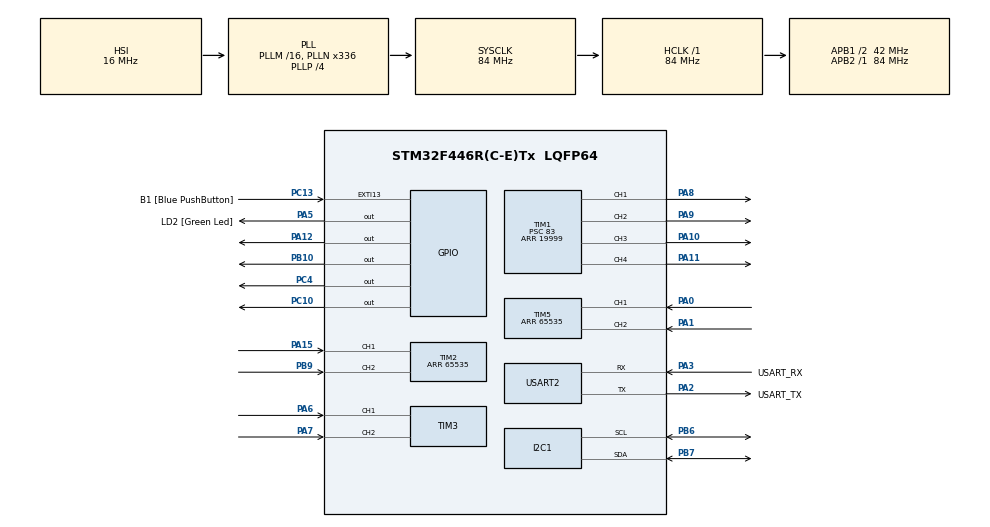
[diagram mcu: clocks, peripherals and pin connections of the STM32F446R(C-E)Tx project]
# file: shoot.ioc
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Mcu.Family=STM32F4
Mcu.Name=STM32F446R(C-E)Tx
Mcu.Package=LQFP64
NVIC.PriorityGroup=NVIC_PRIORITYGROUP_0
NVIC.TIM2_IRQn=true\:0\:0\:false\:false\:true\:true\:true\:true
NVIC.TIM3_IRQn=true\:0\:0\:false\:false\:true\:true\:true\:true
NVIC.TIM5_IRQn=true\:0\:0\:false\:false\:true\:true\:true\:true
PA0-WKUP.Signal=S_TIM5_CH1
PA1.Signal=S_TIM5_CH2
PA10.Signal=S_TIM1_CH3
PA11.Signal=S_TIM1_CH4
PA12.Signal=GPIO_Output
PA13.GPIO_Label=TMS
PA13.Mode=Serial_Wire
PA13.Signal=SYS_JTMS-SWDIO
PA14.GPIO_Label=TCK
PA14.Mode=Serial_Wire
PA14.Signal=SYS_JTCK-SWCLK
PA15.Signal=S_TIM2_CH1_ETR
PA2.GPIO_Label=USART_TX
PA2.Mode=Asynchronous
PA2.Signal=USART2_TX
PA3.GPIO_Label=USART_RX
PA3.Mode=Asynchronous
PA3.Signal=USART2_RX
PA5.GPIO_Label=LD2 [Green Led]
PA5.Signal=GPIO_Output
PA6.Signal=S_TIM3_CH1
PA7.Signal=S_TIM3_CH2
PA8.Signal=S_TIM1_CH1
PA9.Signal=S_TIM1_CH2
PB10.Signal=GPIO_Output
PB3.GPIO_Label=SWO
PB3.Signal=SYS_JTDO-SWO
PB6.Mode=I2C
PB6.Signal=I2C1_SCL
PB7.Mode=I2C
PB7.Signal=I2C1_SDA
PB9.Signal=S_TIM2_CH2
PC10.Signal=GPIO_Output
PC13.GPIO_Label=B1 [Blue PushButton]
PC13.GPIO_ModeDefaultEXTI=GPIO_MODE_IT_FALLING
PC13.Signal=GPXTI13
PC14-OSC32_IN.Mode=LSE-External-Oscillator
PC14-OSC32_IN.Signal=RCC_OSC32_IN
PC15-OSC32_OUT.Mode=LSE-External-Oscillator
PC15-OSC32_OUT.Signal=RCC_OSC32_OUT
PC4.Signal=GPIO_Output
PH0-OSC_IN.Mode=HSE-External-Oscillator
PH0-OSC_IN.Signal=RCC_OSC_IN
PH1-OSC_OUT.Mode=HSE-External-Oscillator
PH1-OSC_OUT.Signal=RCC_OSC_OUT
ProjectManager.HeapSize=0x200
ProjectManager.StackSize=0x400
ProjectManager.TargetToolchain=STM32CubeIDE
RCC.48MHZClocksFreq_Value=84000000
RCC.AHBFreq_Value=84000000
RCC.APB1CLKDivider=RCC_HCLK_DIV2
RCC.APB1Freq_Value=42000000
RCC.APB1TimFreq_Value=84000000
RCC.APB2Freq_Value=84000000
RCC.APB2TimFreq_Value=84000000
RCC.CortexFreq_Value=84000000
RCC.FLatency-AdvancedSettings=FLASH_LATENCY_2
RCC.HCLKFreq_Value=84000000
RCC.HSE_VALUE=8000000
RCC.HSI_VALUE=16000000
RCC.PLLN=336
RCC.PLLP=RCC_PLLP_DIV4
RCC.SYSCLKFreq_VALUE=84000000
RCC.SYSCLKSource=RCC_SYSCLKSOURCE_PLLCLK
RCC.USBFreq_Value=168000000
RCC.VCOOutputFreq_Value=336000000
SH.S_TIM1_CH1.0=TIM1_CH1,PWM Generation1 CH1
SH.S_TIM1_CH2.0=TIM1_CH2,PWM Generation2 CH2
SH.S_TIM1_CH3.0=TIM1_CH3,PWM Generation3 CH3
SH.S_TIM1_CH4.0=TIM1_CH4,PWM Generation4 CH4
SH.S_TIM2_CH1_ETR.0=TIM2_CH1,Encoder_Interface
SH.S_TIM2_CH2.0=TIM2_CH2,Encoder_Interface
SH.S_TIM3_CH1.0=TIM3_CH1,Encoder_Interface
SH.S_TIM3_CH2.0=TIM3_CH2,Encoder_Interface
SH.S_TIM5_CH1.0=TIM5_CH1,Encoder_Interface
SH.S_TIM5_CH2.0=TIM5_CH2,Encoder_Interface
TIM1.Channel-PWM\ Generation1\ CH1=TIM_CHANNEL_1
TIM1.Channel-PWM\ Generation2\ CH2=TIM_CHANNEL_2
TIM1.Channel-PWM\ Generation3\ CH3=TIM_CHANNEL_3
TIM1.Channel-PWM\ Generation4\ CH4=TIM_CHANNEL_4
TIM1.Period=19999
TIM1.Prescaler=83
TIM1.RepetitionCounter=0
TIM2.EncoderMode=TIM_ENCODERMODE_TI12
TIM2.Period=65535
TIM3.EncoderMode=TIM_ENCODERMODE_TI12
TIM5.EncoderMode=TIM_ENCODERMODE_TI12
TIM5.Period=65535
USART2.VirtualMode=VM_ASYNC
VP_TIM1_VS_ClockSourceINT.Mode=Internal
board=NUCLEO-F446RE

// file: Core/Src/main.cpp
/* USER CODE BEGIN Header */
/**
  ******************************************************************************
  * @file           : main.c
  * @brief          : Main program body
  ******************************************************************************
  * @attention
  *
  * Copyright (c) 2022 STMicroelectronics.
  * All rights reserved.
  *
  * This software is licensed under terms that can be found in the LICENSE file
  * in the root directory of this software component.
  * If no LICENSE file comes with this software, it is provided AS-IS.
  *
  ******************************************************************************
  */
/* USER CODE END Header */
#include "main.h"

/* USER CODE BEGIN Includes */
#include "stdio.h"
#include "stdlib.h"

#include "Motor.hpp"
#include "Encoder.hpp"
/* USER CODE END Includes */

 I2C_HandleTypeDef hi2c1;

TIM_HandleTypeDef htim1;
TIM_HandleTypeDef htim2;
TIM_HandleTypeDef htim3;
TIM_HandleTypeDef htim5;

UART_HandleTypeDef huart2;

void SystemClock_Config(void);
static void MX_GPIO_Init(void);
static void MX_USART2_UART_Init(void);
static void MX_TIM1_Init(void);
static void MX_TIM2_Init(void);
static void MX_I2C1_Init(void);
static void MX_TIM3_Init(void);
static void MX_TIM5_Init(void);

/* USER CODE BEGIN 0 */
//モーター関連の宣言
Motor motor1(&htim1, TIM_CHANNEL_1, GPIOB, GPIO_PIN_10);
Motor motor2(&htim1, TIM_CHANNEL_2, GPIOC, GPIO_PIN_10);
Motor motor3(&htim1, TIM_CHANNEL_3, GPIOC, GPIO_PIN_4);
Motor motor4(&htim1, TIM_CHANNEL_4, GPIOA, GPIO_PIN_12);
//エンコーダー関連の宣言
Encoder enc1(&htim2, TIM2);
uint8_t debug1[100] = "0";
uint8_t msg1[] = "test";
int16_t getdiff1;
int16_t getcount1;

Encoder enc2(&htim3, TIM3);
uint8_t debug2[100] = "0";
uint8_t msg2[] = "test";
int16_t getdiff2;
int16_t getcount2;

Encoder enc3(&htim5, TIM5);
uint8_t debug3[100] = "0";
uint8_t msg3[] = "test";
int16_t getdiff3;
int16_t getcount3;
/* USER CODE END 0 */

int main(void)
{

  /* MCU Configuration--------------------------------------------------------*/

  /* Reset of all peripherals, Initializes the Flash interface and the Systick. */
  HAL_Init();

  /* Configure the system clock */
  SystemClock_Config();

  /* Initialize all configured peripherals */
  MX_GPIO_Init();
  MX_USART2_UART_Init();
  MX_TIM1_Init();
  MX_TIM2_Init();
  MX_I2C1_Init();
  MX_TIM3_Init();
  MX_TIM5_Init();
  /* USER CODE BEGIN 2 */
  motor1.init();
  motor2.init();
  motor3.init();
  motor4.init();

enc1.init();
enc1.reset();

enc2.init();
enc2.reset();

enc3.init();
enc3.reset();

int delay = 1000;
int delaycnt = 0;
int delayswitch;
  /* USER CODE END 2 */

  /* Infinite loop */
  /* USER CODE BEGIN WHILE */
  while (1)
  {
	  //モーター制御
	  delayswitch = delaycnt % 4000;
	  switch(delayswitch)
	  {
	  case 0:motor1.speed(0.5);
		  motor2.speed(-0.5);
	  	  motor3.speed(0.5);
	  	  motor4.speed(-0.5);
  	  	  break;
	  case 1000:motor1.speed(0.0);
	  	  motor2.speed(0.0);
	  	  motor3.speed(0.0);
	  	  motor4.speed(0.0);
		  break;
	  case 2000:motor1.speed(-0.5);
		  motor2.speed(0.5);
	  	  motor3.speed(-0.5);
	  	  motor4.speed(0.5);
		  break;
	  case 3000:motor1.speed(0.0);
		  motor2.speed(0.0);
		  motor3.speed(0.0);
		  motor4.speed(0.0);
		  break;
	  default:break;
	  }

    /* USER CODE END WHILE */

    /* USER CODE BEGIN 3 */
	  //エンコーダー読み取り
	  enc1.update();
	  getdiff1 = enc1.getdiff();
	  getcount1 = enc1.getcount();
	  sprintf((char *)debug1, "enc1 -> %d %d\r\n", getdiff1, getcount1);
	  //HAL_UART_Transmit(&huart2, msg, sizeof(msg), 100);
	  HAL_UART_Transmit(&huart2, debug1, sizeof(debug1), 100);

	  enc2.update();
	  getdiff2 = enc2.getdiff();
	  getcount2 = enc2.getcount();
	  sprintf((char *)debug2, "enc2 -> %d %d\r\n", getdiff2, getcount2);
	  //HAL_UART_Transmit(&huart2, msg, sizeof(msg), 100);
	  HAL_UART_Transmit(&huart2, debug2, sizeof(debug2), 100);

	  enc3.update();
	  getdiff3 = enc3.getdiff();
	  getcount3 = enc3.getcount();
	  sprintf((char *)debug3, "enc3 -> %d %d\r\n", getdiff3, getcount3);
	  //HAL_UART_Transmit(&huart2, msg, sizeof(msg), 100);
	  HAL_UART_Transmit(&huart2, debug3, sizeof(debug3), 100);

	  HAL_Delay(delay);

	  delaycnt = delaycnt + delay;
  }
  /* USER CODE END 3 */
}

void SystemClock_Config(void)
{
  RCC_OscInitTypeDef RCC_OscInitStruct = {0};
  RCC_ClkInitTypeDef RCC_ClkInitStruct = {0};

  /** Configure the main internal regulator output voltage
  */
  __HAL_RCC_PWR_CLK_ENABLE();
  __HAL_PWR_VOLTAGESCALING_CONFIG(PWR_REGULATOR_VOLTAGE_SCALE3);

  /** Initializes the RCC Oscillators according to the specified parameters
  * in the RCC_OscInitTypeDef structure.
  */
  RCC_OscInitStruct.OscillatorType = RCC_OSCILLATORTYPE_HSI;
  RCC_OscInitStruct.HSIState = RCC_HSI_ON;
  RCC_OscInitStruct.HSICalibrationValue = RCC_HSICALIBRATION_DEFAULT;
  RCC_OscInitStruct.PLL.PLLState = RCC_PLL_ON;
  RCC_OscInitStruct.PLL.PLLSource = RCC_PLLSOURCE_HSI;
  RCC_OscInitStruct.PLL.PLLM = 16;
  RCC_OscInitStruct.PLL.PLLN = 336;
  RCC_OscInitStruct.PLL.PLLP = RCC_PLLP_DIV4;
  RCC_OscInitStruct.PLL.PLLQ = 2;
  RCC_OscInitStruct.PLL.PLLR = 2;
  if (HAL_RCC_OscConfig(&RCC_OscInitStruct) != HAL_OK)
  {
    Error_Handler();
  }

  /** Initializes the CPU, AHB and APB buses clocks
  */
  RCC_ClkInitStruct.ClockType = RCC_CLOCKTYPE_HCLK|RCC_CLOCKTYPE_SYSCLK
                              |RCC_CLOCKTYPE_PCLK1|RCC_CLOCKTYPE_PCLK2;
  RCC_ClkInitStruct.SYSCLKSource = RCC_SYSCLKSOURCE_PLLCLK;
  RCC_ClkInitStruct.AHBCLKDivider = RCC_SYSCLK_DIV1;
  RCC_ClkInitStruct.APB1CLKDivider = RCC_HCLK_DIV2;
  RCC_ClkInitStruct.APB2CLKDivider = RCC_HCLK_DIV1;

  if (HAL_RCC_ClockConfig(&RCC_ClkInitStruct, FLASH_LATENCY_2) != HAL_OK)
  {
    Error_Handler();
  }
}

static void MX_I2C1_Init(void)
{

  hi2c1.Instance = I2C1;
  hi2c1.Init.ClockSpeed = 100000;
  hi2c1.Init.DutyCycle = I2C_DUTYCYCLE_2;
  hi2c1.Init.OwnAddress1 = 0;
  hi2c1.Init.AddressingMode = I2C_ADDRESSINGMODE_7BIT;
  hi2c1.Init.DualAddressMode = I2C_DUALADDRESS_DISABLE;
  hi2c1.Init.OwnAddress2 = 0;
  hi2c1.Init.GeneralCallMode = I2C_GENERALCALL_DISABLE;
  hi2c1.Init.NoStretchMode = I2C_NOSTRETCH_DISABLE;
  if (HAL_I2C_Init(&hi2c1) != HAL_OK)
  {
    Error_Handler();
  }

}

static void MX_TIM1_Init(void)
{

  TIM_ClockConfigTypeDef sClockSourceConfig = {0};
  TIM_MasterConfigTypeDef sMasterConfig = {0};
  TIM_OC_InitTypeDef sConfigOC = {0};
  TIM_BreakDeadTimeConfigTypeDef sBreakDeadTimeConfig = {0};

  htim1.Instance = TIM1;
  htim1.Init.Prescaler = 83;
  htim1.Init.CounterMode = TIM_COUNTERMODE_UP;
  htim1.Init.Period = 19999;
  htim1.Init.ClockDivision = TIM_CLOCKDIVISION_DIV1;
  htim1.Init.RepetitionCounter = 0;
  htim1.Init.AutoReloadPreload = TIM_AUTORELOAD_PRELOAD_DISABLE;
  if (HAL_TIM_Base_Init(&htim1) != HAL_OK)
  {
    Error_Handler();
  }
  sClockSourceConfig.ClockSource = TIM_CLOCKSOURCE_INTERNAL;
  if (HAL_TIM_ConfigClockSource(&htim1, &sClockSourceConfig) != HAL_OK)
  {
    Error_Handler();
  }
  if (HAL_TIM_PWM_Init(&htim1) != HAL_OK)
  {
    Error_Handler();
  }
  sMasterConfig.MasterOutputTrigger = TIM_TRGO_RESET;
  sMasterConfig.MasterSlaveMode = TIM_MASTERSLAVEMODE_DISABLE;
  if (HAL_TIMEx_MasterConfigSynchronization(&htim1, &sMasterConfig) != HAL_OK)
  {
    Error_Handler();
  }
  sConfigOC.OCMode = TIM_OCMODE_PWM1;
  sConfigOC.Pulse = 0;
  sConfigOC.OCPolarity = TIM_OCPOLARITY_HIGH;
  sConfigOC.OCNPolarity = TIM_OCNPOLARITY_HIGH;
  sConfigOC.OCFastMode = TIM_OCFAST_DISABLE;
  sConfigOC.OCIdleState = TIM_OCIDLESTATE_RESET;
  sConfigOC.OCNIdleState = TIM_OCNIDLESTATE_RESET;
  if (HAL_TIM_PWM_ConfigChannel(&htim1, &sConfigOC, TIM_CHANNEL_1) != HAL_OK)
  {
    Error_Handler();
  }
  if (HAL_TIM_PWM_ConfigChannel(&htim1, &sConfigOC, TIM_CHANNEL_2) != HAL_OK)
  {
    Error_Handler();
  }
  if (HAL_TIM_PWM_ConfigChannel(&htim1, &sConfigOC, TIM_CHANNEL_3) != HAL_OK)
  {
    Error_Handler();
  }
  if (HAL_TIM_PWM_ConfigChannel(&htim1, &sConfigOC, TIM_CHANNEL_4) != HAL_OK)
  {
    Error_Handler();
  }
  sBreakDeadTimeConfig.OffStateRunMode = TIM_OSSR_DISABLE;
  sBreakDeadTimeConfig.OffStateIDLEMode = TIM_OSSI_DISABLE;
  sBreakDeadTimeConfig.LockLevel = TIM_LOCKLEVEL_OFF;
  sBreakDeadTimeConfig.DeadTime = 0;
  sBreakDeadTimeConfig.BreakState = TIM_BREAK_DISABLE;
  sBreakDeadTimeConfig.BreakPolarity = TIM_BREAKPOLARITY_HIGH;
  sBreakDeadTimeConfig.AutomaticOutput = TIM_AUTOMATICOUTPUT_DISABLE;
  if (HAL_TIMEx_ConfigBreakDeadTime(&htim1, &sBreakDeadTimeConfig) != HAL_OK)
  {
    Error_Handler();
  }
  HAL_TIM_MspPostInit(&htim1);

}

static void MX_TIM2_Init(void)
{

  TIM_Encoder_InitTypeDef sConfig = {0};
  TIM_MasterConfigTypeDef sMasterConfig = {0};

  htim2.Instance = TIM2;
  htim2.Init.Prescaler = 0;
  htim2.Init.CounterMode = TIM_COUNTERMODE_UP;
  htim2.Init.Period = 65535;
  htim2.Init.ClockDivision = TIM_CLOCKDIVISION_DIV1;
  htim2.Init.AutoReloadPreload = TIM_AUTORELOAD_PRELOAD_DISABLE;
  sConfig.EncoderMode = TIM_ENCODERMODE_TI12;
  sConfig.IC1Polarity = TIM_ICPOLARITY_RISING;
  sConfig.IC1Selection = TIM_ICSELECTION_DIRECTTI;
  sConfig.IC1Prescaler = TIM_ICPSC_DIV1;
  sConfig.IC1Filter = 0;
  sConfig.IC2Polarity = TIM_ICPOLARITY_RISING;
  sConfig.IC2Selection = TIM_ICSELECTION_DIRECTTI;
  sConfig.IC2Prescaler = TIM_ICPSC_DIV1;
  sConfig.IC2Filter = 0;
  if (HAL_TIM_Encoder_Init(&htim2, &sConfig) != HAL_OK)
  {
    Error_Handler();
  }
  sMasterConfig.MasterOutputTrigger = TIM_TRGO_RESET;
  sMasterConfig.MasterSlaveMode = TIM_MASTERSLAVEMODE_DISABLE;
  if (HAL_TIMEx_MasterConfigSynchronization(&htim2, &sMasterConfig) != HAL_OK)
  {
    Error_Handler();
  }

}

static void MX_TIM3_Init(void)
{

  TIM_Encoder_InitTypeDef sConfig = {0};
  TIM_MasterConfigTypeDef sMasterConfig = {0};

  htim3.Instance = TIM3;
  htim3.Init.Prescaler = 0;
  htim3.Init.CounterMode = TIM_COUNTERMODE_UP;
  htim3.Init.Period = 65535;
  htim3.Init.ClockDivision = TIM_CLOCKDIVISION_DIV1;
  htim3.Init.AutoReloadPreload = TIM_AUTORELOAD_PRELOAD_DISABLE;
  sConfig.EncoderMode = TIM_ENCODERMODE_TI12;
  sConfig.IC1Polarity = TIM_ICPOLARITY_RISING;
  sConfig.IC1Selection = TIM_ICSELECTION_DIRECTTI;
  sConfig.IC1Prescaler = TIM_ICPSC_DIV1;
  sConfig.IC1Filter = 0;
  sConfig.IC2Polarity = TIM_ICPOLARITY_RISING;
  sConfig.IC2Selection = TIM_ICSELECTION_DIRECTTI;
  sConfig.IC2Prescaler = TIM_ICPSC_DIV1;
  sConfig.IC2Filter = 0;
  if (HAL_TIM_Encoder_Init(&htim3, &sConfig) != HAL_OK)
  {
    Error_Handler();
  }
  sMasterConfig.MasterOutputTrigger = TIM_TRGO_RESET;
  sMasterConfig.MasterSlaveMode = TIM_MASTERSLAVEMODE_DISABLE;
  if (HAL_TIMEx_MasterConfigSynchronization(&htim3, &sMasterConfig) != HAL_OK)
  {
    Error_Handler();
  }

}

static void MX_TIM5_Init(void)
{

  TIM_Encoder_InitTypeDef sConfig = {0};
  TIM_MasterConfigTypeDef sMasterConfig = {0};

  htim5.Instance = TIM5;
  htim5.Init.Prescaler = 0;
  htim5.Init.CounterMode = TIM_COUNTERMODE_UP;
  htim5.Init.Period = 65535;
  htim5.Init.ClockDivision = TIM_CLOCKDIVISION_DIV1;
  htim5.Init.AutoReloadPreload = TIM_AUTORELOAD_PRELOAD_DISABLE;
  sConfig.EncoderMode = TIM_ENCODERMODE_TI12;
  sConfig.IC1Polarity = TIM_ICPOLARITY_RISING;
  sConfig.IC1Selection = TIM_ICSELECTION_DIRECTTI;
  sConfig.IC1Prescaler = TIM_ICPSC_DIV1;
  sConfig.IC1Filter = 0;
  sConfig.IC2Polarity = TIM_ICPOLARITY_RISING;
  sConfig.IC2Selection = TIM_ICSELECTION_DIRECTTI;
  sConfig.IC2Prescaler = TIM_ICPSC_DIV1;
  sConfig.IC2Filter = 0;
  if (HAL_TIM_Encoder_Init(&htim5, &sConfig) != HAL_OK)
  {
    Error_Handler();
  }
  sMasterConfig.MasterOutputTrigger = TIM_TRGO_RESET;
  sMasterConfig.MasterSlaveMode = TIM_MASTERSLAVEMODE_DISABLE;
  if (HAL_TIMEx_MasterConfigSynchronization(&htim5, &sMasterConfig) != HAL_OK)
  {
    Error_Handler();
  }

}

static void MX_USART2_UART_Init(void)
{

  huart2.Instance = USART2;
  huart2.Init.BaudRate = 115200;
  huart2.Init.WordLength = UART_WORDLENGTH_8B;
  huart2.Init.StopBits = UART_STOPBITS_1;
  huart2.Init.Parity = UART_PARITY_NONE;
  huart2.Init.Mode = UART_MODE_TX_RX;
  huart2.Init.HwFlowCtl = UART_HWCONTROL_NONE;
  huart2.Init.OverSampling = UART_OVERSAMPLING_16;
  if (HAL_UART_Init(&huart2) != HAL_OK)
  {
    Error_Handler();
  }

}

static void MX_GPIO_Init(void)
{
  GPIO_InitTypeDef GPIO_InitStruct = {0};

  /* GPIO Ports Clock Enable */
  __HAL_RCC_GPIOC_CLK_ENABLE();
  __HAL_RCC_GPIOH_CLK_ENABLE();
  __HAL_RCC_GPIOA_CLK_ENABLE();
  __HAL_RCC_GPIOB_CLK_ENABLE();

  /*Configure GPIO pin Output Level */
  HAL_GPIO_WritePin(GPIOA, LD2_Pin|GPIO_PIN_12, GPIO_PIN_RESET);

  /*Configure GPIO pin Output Level */
  HAL_GPIO_WritePin(GPIOC, GPIO_PIN_4|GPIO_PIN_10, GPIO_PIN_RESET);

  /*Configure GPIO pin Output Level */
  HAL_GPIO_WritePin(GPIOB, GPIO_PIN_10, GPIO_PIN_RESET);

  /*Configure GPIO pin : B1_Pin */
  GPIO_InitStruct.Pin = B1_Pin;
  GPIO_InitStruct.Mode = GPIO_MODE_IT_FALLING;
  GPIO_InitStruct.Pull = GPIO_NOPULL;
  HAL_GPIO_Init(B1_GPIO_Port, &GPIO_InitStruct);

  /*Configure GPIO pins : LD2_Pin PA12 */
  GPIO_InitStruct.Pin = LD2_Pin|GPIO_PIN_12;
  GPIO_InitStruct.Mode = GPIO_MODE_OUTPUT_PP;
  GPIO_InitStruct.Pull = GPIO_NOPULL;
  GPIO_InitStruct.Speed = GPIO_SPEED_FREQ_LOW;
  HAL_GPIO_Init(GPIOA, &GPIO_InitStruct);

  /*Configure GPIO pins : PC4 PC10 */
  GPIO_InitStruct.Pin = GPIO_PIN_4|GPIO_PIN_10;
  GPIO_InitStruct.Mode = GPIO_MODE_OUTPUT_PP;
  GPIO_InitStruct.Pull = GPIO_NOPULL;
  GPIO_InitStruct.Speed = GPIO_SPEED_FREQ_LOW;
  HAL_GPIO_Init(GPIOC, &GPIO_InitStruct);

  /*Configure GPIO pin : PB10 */
  GPIO_InitStruct.Pin = GPIO_PIN_10;
  GPIO_InitStruct.Mode = GPIO_MODE_OUTPUT_PP;
  GPIO_InitStruct.Pull = GPIO_NOPULL;
  GPIO_InitStruct.Speed = GPIO_SPEED_FREQ_LOW;
  HAL_GPIO_Init(GPIOB, &GPIO_InitStruct);

}

void Error_Handler(void)
{
  __disable_irq();
  while (1)
  {
  }
}
